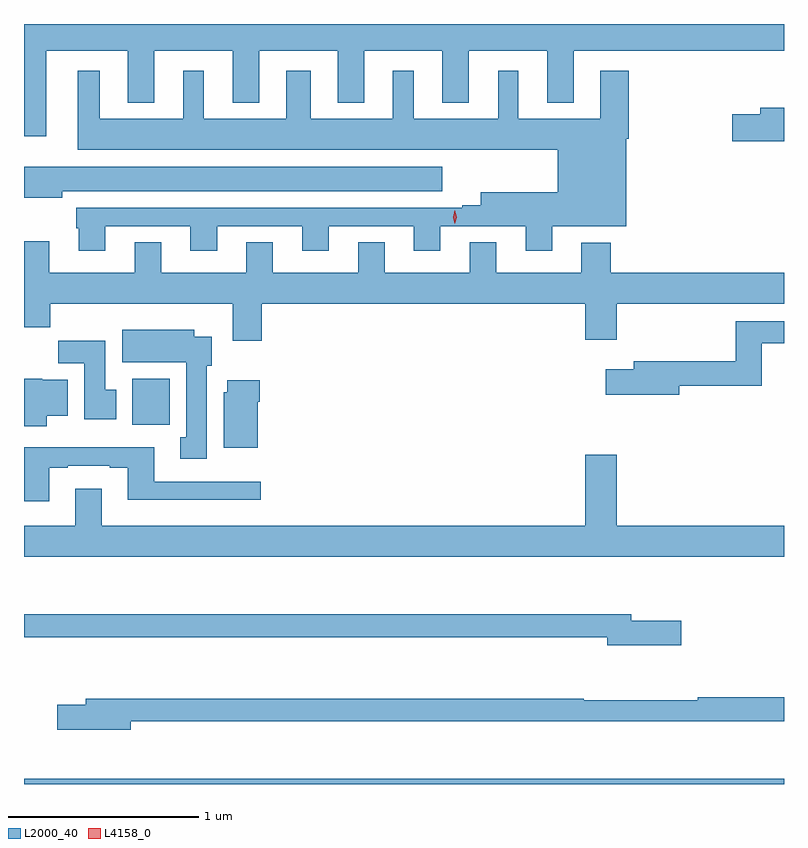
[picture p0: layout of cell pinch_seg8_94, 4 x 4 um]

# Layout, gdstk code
import gdstk
lib = gdstk.Library(unit=1e-6, precision=1e-09)
def R(c, l, rs):  # rectangles x0, y0, x1, y1
    for r in rs: c.add(gdstk.rectangle(r[:2], r[2:], *l))
def P(c, l, *ps):  # polygons
    for p in ps: c.add(gdstk.Polygon(p, *l))
L2000_40 = (2000, 40)
L4158_0 = (4158, 0)

pinch_seg8_94 = lib.new_cell('pinch_seg8_94')
R(pinch_seg8_94, L2000_40, [(1073.141,1099.321,1077.141,1099.348), (1073.711,1101.212,1073.908,1101.454)])
P(pinch_seg8_94, L2000_40, [(1073.257,1103.18),(1073.687,1103.18),(1073.687,1102.907),(1073.827,1102.907),(1073.827,1103.18),(1074.239,1103.18),(1074.239,1102.907),(1074.379,1102.907),(1074.379,1103.18),(1074.791,1103.18),(1074.791,1102.907),(1074.931,1102.907),(1074.931,1103.18),(1075.343,1103.18),(1075.343,1102.907),(1075.483,1102.907),(1075.483,1103.18),(1075.895,1103.18),(1075.895,1102.907),(1076.035,1102.907),(1076.035,1103.18),(1077.141,1103.18),(1077.141,1103.321),(1073.141,1103.321),(1073.141,1102.731),(1073.257,1102.731)],
  [(1073.569,1102.257),(1074.017,1102.257),(1074.017,1102.128),(1074.157,1102.128),(1074.157,1102.257),(1074.605,1102.257),(1074.605,1102.128),(1074.745,1102.128),(1074.745,1102.257),(1075.193,1102.257),(1075.193,1102.128),(1075.333,1102.128),(1075.333,1102.257),(1075.781,1102.257),(1075.781,1102.128),(1075.921,1102.128),(1075.921,1102.256),(1076.311,1102.256),(1076.311,1102.718),(1076.324,1102.718),(1076.324,1103.074),(1076.174,1103.074),(1076.174,1102.822),(1075.741,1102.822),(1075.741,1103.074),(1075.637,1103.074),(1075.637,1102.822),(1075.192,1102.822),(1075.192,1103.074),(1075.082,1103.074),(1075.082,1102.822),(1074.649,1102.822),(1074.649,1103.074),(1074.521,1103.074),(1074.521,1102.822),(1074.088,1102.822),(1074.088,1103.074),(1073.978,1103.074),(1073.978,1102.822),(1073.539,1102.822),(1073.539,1103.074),(1073.423,1103.074),(1073.423,1102.658),(1075.949,1102.658),(1075.949,1102.435),(1075.544,1102.435),(1075.544,1102.366),(1075.448,1102.366),(1075.448,1102.353),(1073.417,1102.353),(1073.417,1102.245),(1073.429,1102.245),(1073.429,1102.128),(1073.569,1102.128)],
  [(1077.141,1102.879),(1077.017,1102.879),(1077.017,1102.845),(1076.868,1102.845),(1076.868,1102.703),(1077.141,1102.703)],
  [(1073.341,1102.442),(1075.342,1102.442),(1075.342,1102.57),(1073.141,1102.57),(1073.141,1102.406),(1073.341,1102.406)],
  [(1074.392,1101.848),(1076.096,1101.848),(1076.096,1101.66),(1076.26,1101.66),(1076.26,1101.848),(1077.141,1101.848),(1077.141,1102.012),(1076.228,1102.012),(1076.228,1102.171),(1076.075,1102.171),(1076.075,1102.012),(1075.627,1102.012),(1075.627,1102.172),(1075.487,1102.172),(1075.487,1102.012),(1075.039,1102.012),(1075.039,1102.172),(1074.899,1102.172),(1074.899,1102.012),(1074.451,1102.012),(1074.451,1102.172),(1074.311,1102.172),(1074.311,1102.012),(1073.863,1102.012),(1073.863,1102.172),(1073.723,1102.172),(1073.723,1102.012),(1073.275,1102.012),(1073.275,1102.177),(1073.141,1102.177),(1073.141,1101.724),(1073.279,1101.724),(1073.279,1101.848),(1074.239,1101.848),(1074.239,1101.654),(1074.392,1101.654)],
  [(1076.59,1101.418),(1077.023,1101.418),(1077.023,1101.64),(1077.141,1101.64),(1077.141,1101.756),(1076.887,1101.756),(1076.887,1101.547),(1076.351,1101.547),(1076.351,1101.505),(1076.202,1101.505),(1076.202,1101.371),(1076.59,1101.371)],
  [(1074.103,1101.522),(1074.13,1101.522),(1074.13,1101.676),(1074.037,1101.676),(1074.037,1101.712),(1073.657,1101.712),(1073.657,1101.542),(1073.996,1101.542),(1073.996,1101.146),(1073.963,1101.146),(1073.963,1101.033),(1074.103,1101.033)],
  [(1073.626,1101.396),(1073.569,1101.396),(1073.569,1101.654),(1073.32,1101.654),(1073.32,1101.536),(1073.459,1101.536),(1073.459,1101.24),(1073.626,1101.24)],
  [(1073.26,1101.26),(1073.371,1101.26),(1073.371,1101.448),(1073.238,1101.448),(1073.238,1101.454),(1073.141,1101.454),(1073.141,1101.203),(1073.26,1101.203)],
  [(1074.37,1101.332),(1074.383,1101.332),(1074.383,1101.445),(1074.212,1101.445),(1074.212,1101.384),(1074.191,1101.384),(1074.191,1101.092),(1074.37,1101.092)],
  [(1073.275,1100.985),(1073.371,1100.985),(1073.371,1100.997),(1073.591,1100.997),(1073.591,1100.985),(1073.687,1100.985),(1073.687,1100.816),(1074.388,1100.816),(1074.388,1100.913),(1073.827,1100.913),(1073.827,1101.094),(1073.141,1101.094),(1073.141,1100.808),(1073.275,1100.808)],
  [(1077.141,1100.68),(1076.26,1100.68),(1076.26,1101.055),(1076.096,1101.055),(1076.096,1100.68),(1073.551,1100.68),(1073.551,1100.875),(1073.411,1100.875),(1073.411,1100.68),(1073.141,1100.68),(1073.141,1100.516),(1077.141,1100.516)],
  [(1076.599,1100.181),(1076.338,1100.181),(1076.338,1100.215),(1073.141,1100.215),(1073.141,1100.094),(1076.21,1100.094),(1076.21,1100.051),(1076.599,1100.051)],
  [(1073.704,1099.65),(1077.141,1099.65),(1077.141,1099.778),(1076.686,1099.778),(1076.686,1099.763),(1076.086,1099.763),(1076.086,1099.771),(1073.465,1099.771),(1073.465,1099.737),(1073.316,1099.737),(1073.316,1099.607),(1073.704,1099.607)])
P(pinch_seg8_94, L4158_0, [(1075.409,1102.269),(1075.409,1102.269),(1075.399,1102.304),(1075.408,1102.34),(1075.408,1102.34),(1075.408,1102.34),(1075.418,1102.304),(1075.409,1102.269)])

lib.write_gds('pinch_seg8_94.gds')
